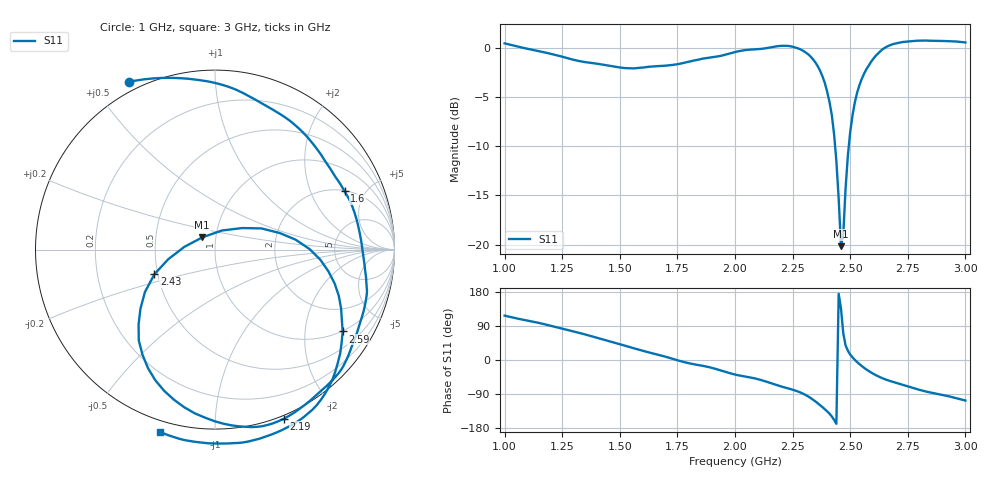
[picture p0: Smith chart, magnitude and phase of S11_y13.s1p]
!  07.03.2025  13:31:48
! Ref Plane: 0,000 mm
# MHZ S MA R  50
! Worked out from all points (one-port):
!   201 points, 1 GHz to 3 GHz, reference 50 ohm
!   lowest |S11| = -20.1 dB at 2.46 GHz (marker M1), VSWR 1.22, Z = 43 + j5.91 ohm
!   |S11| at or under -10 dB: 2.434 GHz to 2.494 GHz (59.47 MHz wide, 2.41 % of centre)
!   S11 on the Smith chart (normalised r, x): 1 GHz: -0.03, +0.61; 1.6 GHz: 2.04, +3.55; 2.19 GHz: -0.03, -1.49; 2.43 GHz: 0.48, -0.15; 2.59 GHz: 0.98, -3.13; 3 GHz: -0.05, -0.74
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1000  1.05 117.1
1140  0.964 99.0
1250  0.8986 82.5
1390  0.8314 60.5
1500  0.7926 41.6
1600  0.7915 24.2
1750  0.8226 -0.7
1880  0.8852 -17.9
2000  0.9487 -38.4
2090  0.9796 -49.1
2190  1.017 -67.8
2250  1.009 -78.4
2300  0.9555 -90.2
2340  0.8675 -105.2
2390  0.6604 -130.0
2410  0.5306 -141.5
2430  0.3638 -157.9
2440  0.2658 -168.4
2460  0.0984 136.2
2470  0.1133 70.0
2480  0.1935 38.4
2500  0.3726 14.3
2540  0.6439 -10.9
2590  0.8448 -32.7
2660  1.012 -52.8
2750  1.072 -69.5
2850  1.083 -86.0
3000  1.061 -106.9
